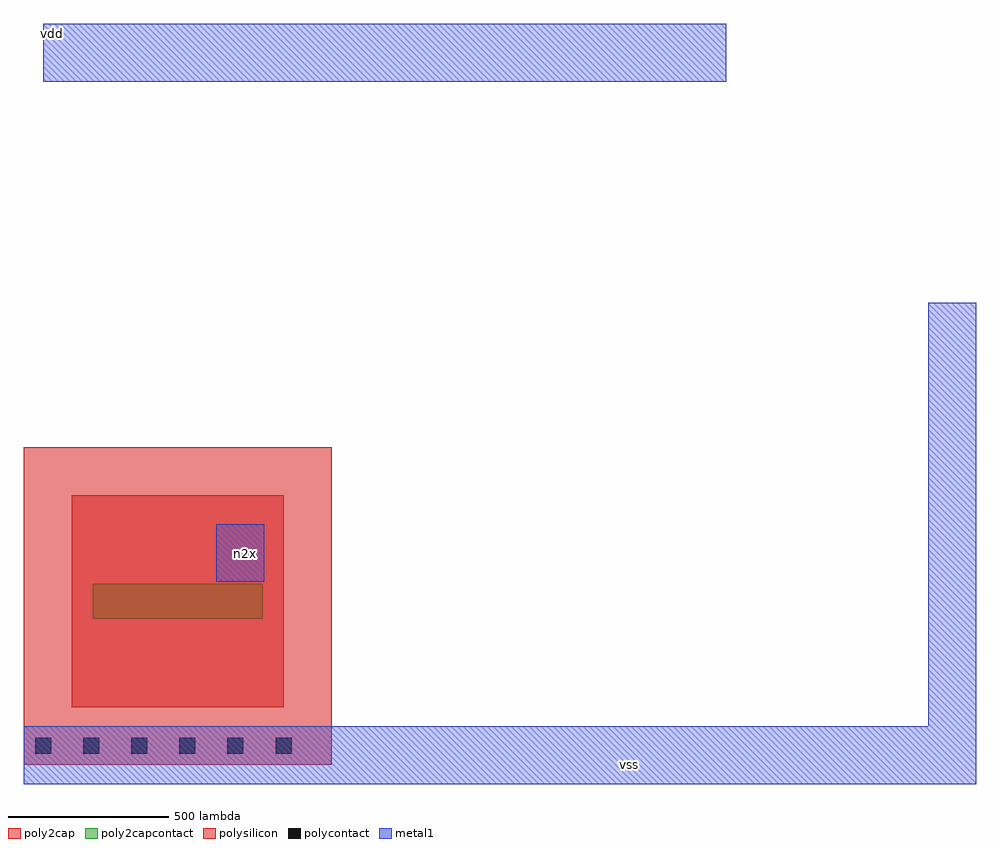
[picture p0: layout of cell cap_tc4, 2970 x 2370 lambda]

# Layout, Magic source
magic
tech amic5n
<< poly2capcontact >>
rect 875 515 1405 625
<< poly2cap >>
rect 810 240 1470 900
<< polysilicon >>
rect 660 60 1620 1050
<< polycontact >>
rect 695 95 745 145
<< polycontact >>
rect 845 95 895 145
<< polycontact >>
rect 995 95 1045 145
<< polycontact >>
rect 1145 95 1195 145
<< polycontact >>
rect 1295 95 1345 145
<< polycontact >>
rect 1445 95 1495 145
<< metal1 >>
rect 720 2190 2850 2370
rect 1260 630 1410 810
rect 3480 180 3630 1500
rect 660 0 3630 180
<< labels >>
flabel metal1  2550 60 2550 60 2 FreeSans 400 0 0 0 vss
port 4 ne
flabel metal1 s 1350 720 1350 720 2 FreeSans 400 0 0 0 n2x
port 2 ne
flabel metal1  750 2340 750 2340 2 FreeSans 400 0 0 0 vdd
port 3 ne
<< end >>
